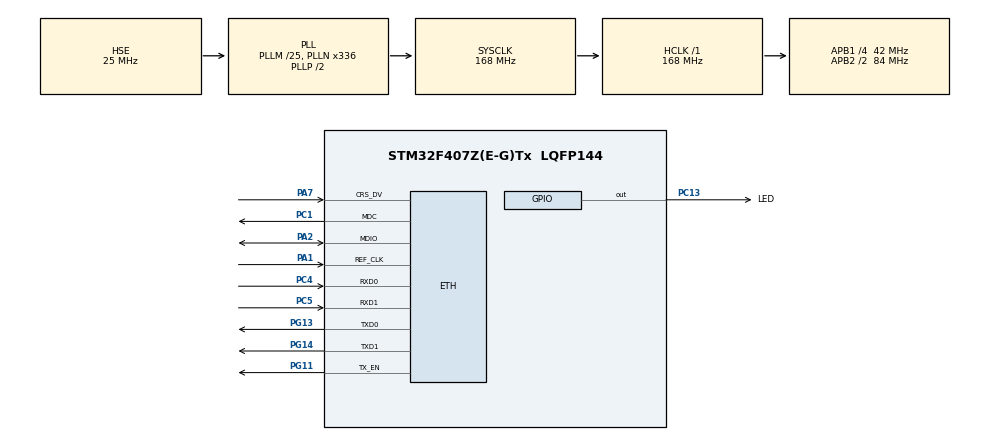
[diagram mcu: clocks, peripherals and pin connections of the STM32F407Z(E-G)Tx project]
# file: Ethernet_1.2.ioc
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ETH.MediaInterface=HAL_ETH_RMII_MODE
LWIP.BSP.number=1
LWIP.GATEWAY_ADDRESS=192.168.001.001
LWIP.IP_ADDRESS=192.168.001.102
LWIP.LWIP_DHCP=0
LWIP.MEMP_NUM_TCP_SEG=24
LWIP.NETMASK_ADDRESS=255.255.255.000
LWIP.TCP_MSS=460
LWIP.TCP_SND_BUF=1840
LWIP.TCP_WND=2048
LWIP.Version=v2.1.2_Cube
LWIP0.BSP.STBoard=false
LWIP0.BSP.api=BSP_COMPONENT_DRIVER
LWIP0.BSP.component=LAN8742
LWIP0.BSP.instance=LAN8742
LWIP0.BSP.name=Driver_PHY
LWIP0.BSP.semaphore=S_LAN8742
LWIP0.BSP.solution=LAN8742
Mcu.Family=STM32F4
Mcu.Name=STM32F407Z(E-G)Tx
Mcu.Package=LQFP144
NVIC.PriorityGroup=NVIC_PRIORITYGROUP_4
PA1.Mode=RMII
PA1.Signal=ETH_REF_CLK
PA13.Mode=Serial_Wire
PA13.Signal=SYS_JTMS-SWDIO
PA14.Mode=Serial_Wire
PA14.Signal=SYS_JTCK-SWCLK
PA2.Mode=RMII
PA2.Signal=ETH_MDIO
PA3.Signal=ETH_COL
PA7.Mode=RMII
PA7.Signal=ETH_CRS_DV
PC1.Mode=RMII
PC1.Signal=ETH_MDC
PC13-ANTI_TAMP.GPIO_Label=LED
PC13-ANTI_TAMP.Signal=GPIO_Output
PC4.Mode=RMII
PC4.Signal=ETH_RXD0
PC5.Mode=RMII
PC5.Signal=ETH_RXD1
PG11.Mode=RMII
PG11.Signal=ETH_TX_EN
PG13.Mode=RMII
PG13.Signal=ETH_TXD0
PG14.Mode=RMII
PG14.Signal=ETH_TXD1
PH0-OSC_IN.Mode=HSE-External-Oscillator
PH0-OSC_IN.Signal=RCC_OSC_IN
PH1-OSC_OUT.Mode=HSE-External-Oscillator
PH1-OSC_OUT.Signal=RCC_OSC_OUT
ProjectManager.HeapSize=0x2000
ProjectManager.StackSize=0x4000
ProjectManager.TargetToolchain=MDK-ARM V5.32
RCC.48MHZClocksFreq_Value=84000000
RCC.AHBFreq_Value=168000000
RCC.APB1CLKDivider=RCC_HCLK_DIV4
RCC.APB1Freq_Value=42000000
RCC.APB1TimFreq_Value=84000000
RCC.APB2CLKDivider=RCC_HCLK_DIV2
RCC.APB2Freq_Value=84000000
RCC.APB2TimFreq_Value=168000000
RCC.CortexFreq_Value=168000000
RCC.HCLKFreq_Value=168000000
RCC.HSE_VALUE=25000000
RCC.HSI_VALUE=16000000
RCC.LSE_VALUE=32768
RCC.PLLM=25
RCC.PLLN=336
RCC.PLLSourceVirtual=RCC_PLLSOURCE_HSE
RCC.SYSCLKFreq_VALUE=168000000
RCC.SYSCLKSource=RCC_SYSCLKSOURCE_PLLCLK
RCC.VCOOutputFreq_Value=336000000
VP_LWIP_VS_Enabled.Mode=Enabled
board=custom

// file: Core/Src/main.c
/* USER CODE BEGIN Header */
/**
  ******************************************************************************
  * @file           : main.c
  * @brief          : Main program body
  ******************************************************************************
  * @attention
  *
  * Copyright (c) 2025 STMicroelectronics.
  * All rights reserved.
  *
  * This software is licensed under terms that can be found in the LICENSE file
  * in the root directory of this software component.
  * If no LICENSE file comes with this software, it is provided AS-IS.
  *
  ******************************************************************************
  */
/* USER CODE END Header */
#include "main.h"
#include "lwip.h"
#include "gpio.h"

/* USER CODE BEGIN Includes */
#include "lwip/udp.h"
#include "string.h"
/* USER CODE END Includes */

/* USER CODE BEGIN PV */
extern struct netif gnetif;
/* USER CODE END PV */

void SystemClock_Config(void);

/* USER CODE BEGIN 0 */
static struct udp_pcb *upcb;

void udp_receive_callback(void *arg, struct udp_pcb *pcb, struct pbuf *p, const ip_addr_t *addr, u16_t port) {
    if (p != NULL) {
        char cmd[64];
        strncpy(cmd, (char*)p->payload, p->len);
        cmd[p->len] = '\0';  // Обязательно завершаем строку!

        // Парсинг команд
        if (strstr(cmd, "LED OFF")) {
            HAL_GPIO_WritePin(GPIOC, LED_Pin, GPIO_PIN_SET);  // Включить

        }
        else if (strstr(cmd, "LED ON")) {
            HAL_GPIO_WritePin(GPIOC, LED_Pin, GPIO_PIN_RESET); // Выключить

        }

        // Отправляем ответ
        udp_sendto(pcb, p, addr, port);
        pbuf_free(p);
    }
}

void udp_server_init() {
    upcb = udp_new();
    udp_bind(upcb, IP_ADDR_ANY, 1234);  // Порт 1234
    udp_recv(upcb, udp_receive_callback, NULL);
}
/* USER CODE END 0 */

int main(void)
{

  /* MCU Configuration--------------------------------------------------------*/

  /* Reset of all peripherals, Initializes the Flash interface and the Systick. */
  HAL_Init();

  /* Configure the system clock */
  SystemClock_Config();

  /* Initialize all configured peripherals */
  MX_GPIO_Init();
  MX_LWIP_Init();
  /* USER CODE BEGIN 2 */
    ip_addr_t ip, mask, gw;
    IP4_ADDR(&ip, 192, 168, 1, 102);
    IP4_ADDR(&mask, 255, 255, 255, 0);
    IP4_ADDR(&gw, 192, 168, 1, 1);
    netif_set_addr(&gnetif, &ip, &mask, &gw);

    udp_server_init();  // Запуск UDP-сервера
  /* USER CODE END 2 */

  /* Infinite loop */
  while (1)
  {

    /* USER CODE BEGIN 3 */
      MX_LWIP_Process() ;
      HAL_Delay(1);
  }
  /* USER CODE END 3 */
}

void SystemClock_Config(void)
{
  RCC_OscInitTypeDef RCC_OscInitStruct = {0};
  RCC_ClkInitTypeDef RCC_ClkInitStruct = {0};

  /** Configure the main internal regulator output voltage
  */
  __HAL_RCC_PWR_CLK_ENABLE();
  __HAL_PWR_VOLTAGESCALING_CONFIG(PWR_REGULATOR_VOLTAGE_SCALE1);

  /** Initializes the RCC Oscillators according to the specified parameters
  * in the RCC_OscInitTypeDef structure.
  */
  RCC_OscInitStruct.OscillatorType = RCC_OSCILLATORTYPE_HSE;
  RCC_OscInitStruct.HSEState = RCC_HSE_ON;
  RCC_OscInitStruct.PLL.PLLState = RCC_PLL_ON;
  RCC_OscInitStruct.PLL.PLLSource = RCC_PLLSOURCE_HSE;
  RCC_OscInitStruct.PLL.PLLM = 25;
  RCC_OscInitStruct.PLL.PLLN = 336;
  RCC_OscInitStruct.PLL.PLLP = RCC_PLLP_DIV2;
  RCC_OscInitStruct.PLL.PLLQ = 4;
  if (HAL_RCC_OscConfig(&RCC_OscInitStruct) != HAL_OK)
  {
    Error_Handler();
  }

  /** Initializes the CPU, AHB and APB buses clocks
  */
  RCC_ClkInitStruct.ClockType = RCC_CLOCKTYPE_HCLK|RCC_CLOCKTYPE_SYSCLK
                              |RCC_CLOCKTYPE_PCLK1|RCC_CLOCKTYPE_PCLK2;
  RCC_ClkInitStruct.SYSCLKSource = RCC_SYSCLKSOURCE_PLLCLK;
  RCC_ClkInitStruct.AHBCLKDivider = RCC_SYSCLK_DIV1;
  RCC_ClkInitStruct.APB1CLKDivider = RCC_HCLK_DIV4;
  RCC_ClkInitStruct.APB2CLKDivider = RCC_HCLK_DIV2;

  if (HAL_RCC_ClockConfig(&RCC_ClkInitStruct, FLASH_LATENCY_5) != HAL_OK)
  {
    Error_Handler();
  }
}

void Error_Handler(void)
{
  __disable_irq();
  while (1)
  {
  }
}
